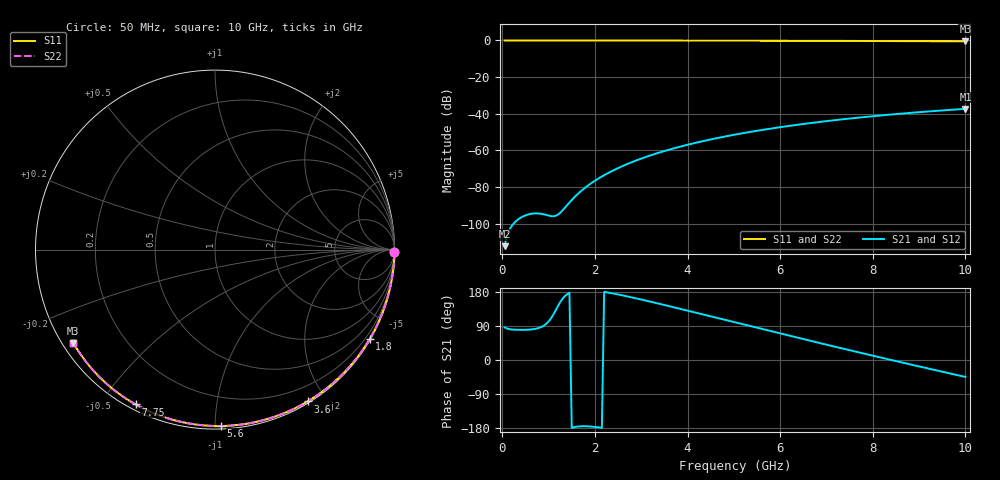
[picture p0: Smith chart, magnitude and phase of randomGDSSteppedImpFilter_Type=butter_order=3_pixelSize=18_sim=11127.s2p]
! freq	dB(S11)	phase(S11)	dB(S12)	phase(S12)
!  dB(S21)	phase(S21)	dB(S22)	phase(S22)
!S-par simulation data
#  GHz  S  DB  R 50
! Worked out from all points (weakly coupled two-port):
!   200 points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, 50 MHz to 10 GHz, reference 50 ohm
!   highest |S21| = -37.36 dB at 10 GHz (marker M1); lowest = -112.4 dB at 50 MHz (marker M2)
!   lowest |S11| = -0.5 dB at 10 GHz (marker M3), VSWR 35.36, Z = 1.54 - j15 ohm
!   |S11| at or under -10 dB: nowhere
!   |S22| runs from -0.5 to 0.0 dB; largest |S21 - S12| = 0
!   S11 on the Smith chart (normalised r, x): 50 MHz: open; 1.8 GHz: 0.03, -3.73; 3.6 GHz: 0.02, -1.78; 5.6 GHz: 0.02, -1.04; 7.75 GHz: 0.02, -0.61; 10 GHz: 0.03, -0.30
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0.05  -0.00 -0.8  -112.37 86.0  -112.37 86.0  -0.00 -0.9
0.45  -0.01 -7.6  -96.08 79.6  -96.08 79.6  -0.01 -7.6
0.9  -0.02 -15.2  -94.99 91.0  -94.99 91.0  -0.02 -15.2
1.3  -0.03 -21.8  -92.84 161.6  -92.84 161.6  -0.03 -21.8
1.75  -0.04 -29.2  -81.21 -174.7  -81.21 -174.7  -0.04 -29.3
1.8  -0.04 -30.0  -80.20 -174.7  -80.20 -174.7  -0.04 -30.1
2.15  -0.05 -35.7  -74.30 -179.2  -74.30 -179.2  -0.05 -35.8
2.5  -0.05 -41.4  -69.72 173.0  -69.72 173.0  -0.05 -41.4
2.9  -0.06 -47.7  -65.47 162.4  -65.47 162.4  -0.06 -47.8
3.4  -0.07 -55.5  -61.16 148.1  -61.16 148.1  -0.07 -55.6
3.6  -0.08 -58.6  -59.67 142.2  -59.67 142.2  -0.08 -58.6
3.9  -0.09 -63.2  -57.61 133.3  -57.61 133.3  -0.09 -63.2
4.3  -0.10 -69.2  -55.17 121.2  -55.17 121.2  -0.10 -69.2
5.05  -0.12 -80.2  -51.30 98.6  -51.30 98.6  -0.12 -80.2
5.6  -0.14 -88.0  -48.92 82.0  -48.92 82.0  -0.14 -88.1
6.15  -0.17 -95.7  -46.83 65.5  -46.83 65.5  -0.17 -95.7
6.7  -0.20 -103.2  -44.98 49.2  -44.98 49.2  -0.20 -103.3
7.2  -0.23 -109.9  -43.48 34.5  -43.48 34.5  -0.23 -110.0
7.75  -0.27 -117.2  -42.00 18.6  -42.00 18.6  -0.27 -117.3
8.35  -0.32 -125.0  -40.56 1.3  -40.56 1.3  -0.32 -125.1
9.2  -0.40 -136.1  -38.78 -22.6  -38.78 -22.6  -0.40 -136.2
10  -0.49 -146.6  -37.36 -44.6  -37.36 -44.6  -0.49 -146.8
